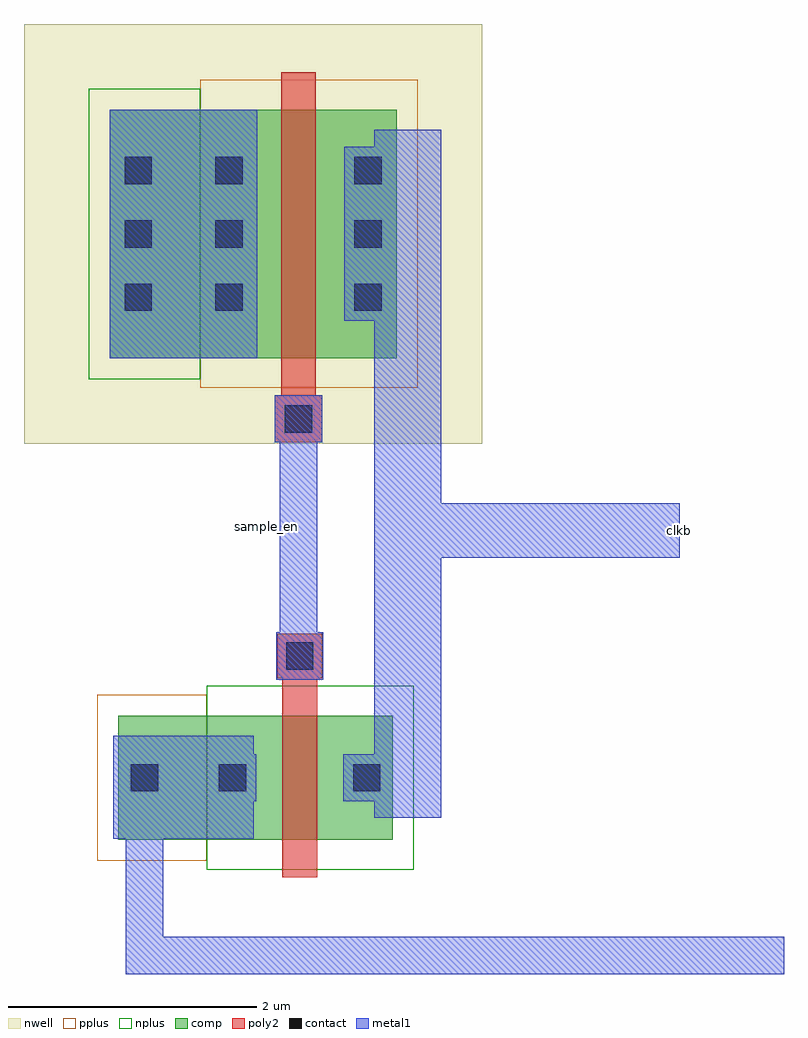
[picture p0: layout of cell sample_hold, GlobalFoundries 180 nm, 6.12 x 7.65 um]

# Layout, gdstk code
from math import pi, radians
import gdstk
lib = gdstk.Library(unit=1e-6, precision=5e-09)
def R(c, l, rs):  # rectangles x0, y0, x1, y1
    for r in rs: c.add(gdstk.rectangle(r[:2], r[2:], *l))
def A(c, l, x, y, w, h, nx, ny, dx, dy):  # array of equal rectangles
    R(c, l, [(x+i*dx, y+j*dy, x+i*dx+w, y+j*dy+h) for i in range(nx) for j in range(ny)])
nwell = (21, 0)
comp = (22, 0)
poly2 = (30, 0)
pplus = (31, 0)
nplus = (32, 0)
contact = (33, 0)
metal1 = (34, 0)

pfet = lib.new_cell('pfet')
R(pfet, nwell, [(-1.15,-0.69,2.54,2.69)])
R(pfet, comp, [(-0.46,0,0,2), (0,0,0.66,2), (0.66,0,1.12,2), (1.12,0,1.85,2)])
R(pfet, poly2, [(0.14,-0.68,0.52,-0.3), (0.19,-0.3,0.47,2.3)])
R(pfet, pplus, [(-0.63,-0.24,1.12,2.24)])
R(pfet, nplus, [(1.12,-0.17,2.02,2.17)])
A(pfet, contact, -0.34, 0.38, 0.22, 0.22, 1, 3, 0, 0.51)
A(pfet, contact, 0.78, 0.38, 0.22, 0.22, 1, 3, 0, 0.51)
A(pfet, contact, 1.51, 0.38, 0.22, 0.22, 1, 3, 0, 0.51)
R(pfet, contact, [(0.22,-0.6,0.44,-0.38)])
R(pfet, metal1, [(0.14,-0.68,0.52,-0.3), (-0.42,0.3,-0.04,1.7), (0.7,0.3,1.08,1.7), (1.43,0.3,1.81,1.7)])

nfet = lib.new_cell('nfet')
R(nfet, comp, [(-0.42,0,0,1), (0,0,0.66,1), (0.66,0,1.08,1), (1.08,0,1.79,1)])
R(nfet, poly2, [(0.19,-0.3,0.47,1.3), (0.15,1.3,0.51,1.66)])
R(nfet, pplus, [(1.08,-0.17,1.96,1.17)])
R(nfet, nplus, [(-0.59,-0.24,1.08,1.24)])
R(nfet, contact, [(-0.32,0.39,-0.1,0.61), (0.76,0.39,0.98,0.61), (1.47,0.39,1.69,0.61), (0.22,1.37,0.44,1.59)])
R(nfet, metal1, [(-0.4,0.31,-0.02,0.69), (0.68,0.31,1.06,0.69), (1.39,0.31,1.77,0.69), (0.14,1.29,0.52,1.67)])

inv_sh = lib.new_cell('inv_sh')
R(inv_sh, metal1, [(0.29,-1.01,1.42,-0.18), (-1.22,-0.84,-0.68,4.7), (0.26,2.86,1.45,4.86)])
inv_sh.add(gdstk.FlexPath([(-0.07,2.37),(-0.07,0.43),(-0.07,0.43)], 0.3, ends="flush", simple_path=True, layer=34, datatype=0))  # metal1
inv_sh.add(gdstk.Reference(pfet, (-0.4,2.86)))
inv_sh.add(gdstk.Reference(nfet, (-0.41,-1.02)))
inv_sh.add(gdstk.Label('vdd', (0.855,3.64), layer=34, texttype=10))
inv_sh.add(gdstk.Label('vss', (0.86,-0.56), layer=34, texttype=10))
inv_sh.add(gdstk.Label('vo', (-0.99,1.28), layer=34, texttype=10))
inv_sh.add(gdstk.Label('vi', (-0.07,1.39), layer=34, texttype=10))

sample_hold = lib.new_cell('sample_hold')
R(sample_hold, metal1, [(-25.07,10.73,-22.61,11.17)])
sample_hold.add(gdstk.FlexPath([(-26.92,8.96),(-26.92,7.53),(-21.77,7.53),(-21.77,7.53)], 0.3, ends="flush", simple_path=True, layer=34, datatype=0))  # metal1
sample_hold.add(gdstk.Reference(inv_sh, (-25.75,9.48), rotation=pi, x_reflection=True))
sample_hold.add(gdstk.Label('sample_en', (-25.94,10.98), layer=34, texttype=10))
sample_hold.add(gdstk.Label('clkb', (-22.61,10.95), layer=34, texttype=10))

lib.write_gds('sample_hold.gds')
